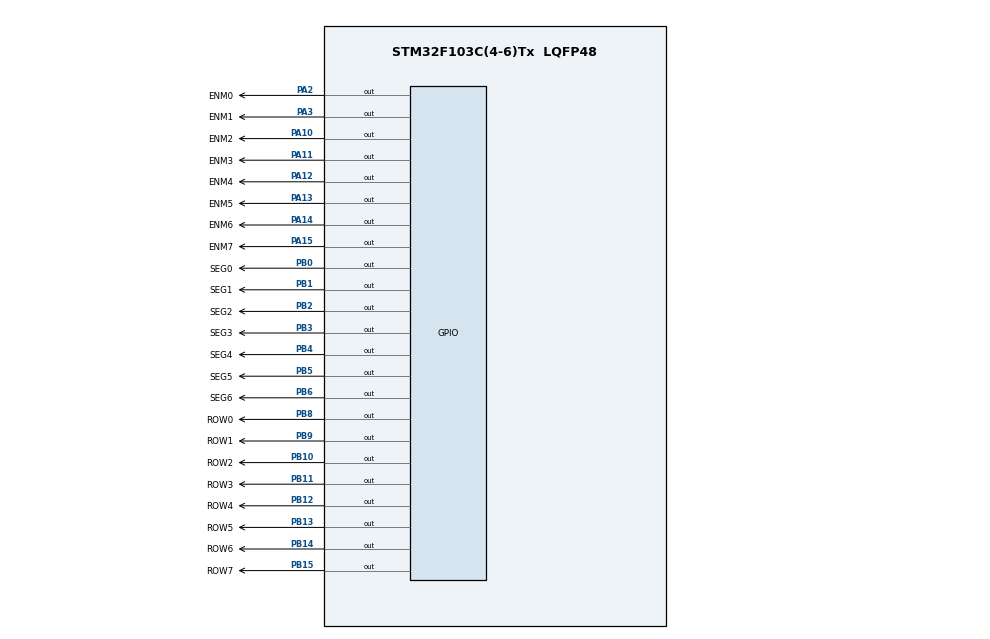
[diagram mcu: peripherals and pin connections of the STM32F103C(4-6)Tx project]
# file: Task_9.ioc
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Mcu.Family=STM32F1
Mcu.Name=STM32F103C(4-6)Tx
Mcu.Package=LQFP48
NVIC.PriorityGroup=NVIC_PRIORITYGROUP_4
NVIC.TIM2_IRQn=true\:0\:0\:false\:false\:true\:true\:true
PA10.GPIO_Label=ENM2
PA10.Signal=GPIO_Output
PA11.GPIO_Label=ENM3
PA11.Signal=GPIO_Output
PA12.GPIO_Label=ENM4
PA12.Signal=GPIO_Output
PA13.GPIO_Label=ENM5
PA13.Signal=GPIO_Output
PA14.GPIO_Label=ENM6
PA14.Signal=GPIO_Output
PA15.GPIO_Label=ENM7
PA15.Signal=GPIO_Output
PA2.GPIO_Label=ENM0
PA2.Signal=GPIO_Output
PA3.GPIO_Label=ENM1
PA3.Signal=GPIO_Output
PB0.GPIO_Label=SEG0
PB0.Signal=GPIO_Output
PB1.GPIO_Label=SEG1
PB1.Signal=GPIO_Output
PB10.GPIO_Label=ROW2
PB10.Signal=GPIO_Output
PB11.GPIO_Label=ROW3
PB11.Signal=GPIO_Output
PB12.GPIO_Label=ROW4
PB12.Signal=GPIO_Output
PB13.GPIO_Label=ROW5
PB13.Signal=GPIO_Output
PB14.GPIO_Label=ROW6
PB14.Signal=GPIO_Output
PB15.GPIO_Label=ROW7
PB15.Signal=GPIO_Output
PB2.GPIO_Label=SEG2
PB2.Signal=GPIO_Output
PB3.GPIO_Label=SEG3
PB3.Signal=GPIO_Output
PB4.GPIO_Label=SEG4
PB4.Signal=GPIO_Output
PB5.GPIO_Label=SEG5
PB5.Signal=GPIO_Output
PB6.GPIO_Label=SEG6
PB6.Signal=GPIO_Output
PB8.GPIO_Label=ROW0
PB8.Signal=GPIO_Output
PB9.GPIO_Label=ROW1
PB9.Signal=GPIO_Output
ProjectManager.HeapSize=0x200
ProjectManager.StackSize=0x400
ProjectManager.TargetToolchain=STM32CubeIDE
RCC.APB1Freq_Value=8000000
RCC.APB2Freq_Value=8000000
TIM2.Period=9
TIM2.Prescaler=7999
VP_SYS_VS_ND.Mode=No_Debug
VP_TIM2_VS_ClockSourceINT.Mode=Internal
board=custom

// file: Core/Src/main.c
/* USER CODE BEGIN Header */
/**
  ******************************************************************************
  * @file           : main.c
  * @brief          : Main program body
  ******************************************************************************
  * @attention
  *
  * <h2><center>&copy; Copyright (c) 2022 STMicroelectronics.
  * All rights reserved.</center></h2>
  *
  * This software component is licensed by ST under BSD 3-Clause license,
  * the "License"; You may not use this file except in compliance with the
  * License. You may obtain a copy of the License at:
  *                        opensource.org/licenses/BSD-3-Clause
  *
  ******************************************************************************
  */
/* USER CODE END Header */
#include "main.h"

/* USER CODE BEGIN Includes */
#include "software_timer.h"
/* USER CODE END Includes */

TIM_HandleTypeDef htim2;

void SystemClock_Config(void);
static void MX_GPIO_Init(void);
static void MX_TIM2_Init(void);
/* USER CODE BEGIN PFP */
void displayROW_LEDMATRIX(int num_index);
void updateLEDMatrix(int index_led_matrix);
void clearENM();
void shiftLeft();
/* USER CODE END PFP */

/* USER CODE BEGIN 0 */
int index_led_matrix=0;
const int MAX_LED_MATRIX=8;
uint8_t matrix_buffer[8]= {0xFF, 0x03, 0x01, 0xCC, 0xCC, 0x01, 0x03, 0xFF}; // data of rows
//uint8_t matrix_buffer[8]={0x7C,0x10,0x10,0x10,0x10,0x10,0x10};
/* USER CODE END 0 */

int main(void)
{

  /* MCU Configuration--------------------------------------------------------*/

  /* Reset of all peripherals, Initializes the Flash interface and the Systick. */
  HAL_Init();

  /* Configure the system clock */
  SystemClock_Config();

  /* Initialize all configured peripherals */
  MX_GPIO_Init();
  MX_TIM2_Init();
  /* USER CODE BEGIN 2 */
  HAL_TIM_Base_Start_IT (& htim2 );
  /* USER CODE END 2 */

  /* Infinite loop */
  /* USER CODE BEGIN WHILE */
  setTimer1(2);
 // int led_status =1;
  while (1)
  {
    /* USER CODE END WHILE */
           if(timer1_flag==1)
           {
        	   setTimer1(2);
        	   if(index_led_matrix >= MAX_LED_MATRIX)
        	   {
        		   index_led_matrix=0;
        	       shiftLeft();
        	   }
        	   updateLEDMatrix(index_led_matrix);
        	   index_led_matrix++;

           }

	/*	  setTimer1(50);
		  HAL_GPIO_WritePin(ENM0_GPIO_Port, ENM0_Pin, 0);
		  HAL_GPIO_WritePin(ENM1_GPIO_Port, ENM1_Pin, 1);
		  HAL_GPIO_WritePin(ENM2_GPIO_Port, ENM2_Pin, 1);
		  HAL_GPIO_WritePin(ENM3_GPIO_Port, ENM3_Pin, 1);
		  HAL_GPIO_WritePin(ENM4_GPIO_Port, ENM4_Pin, 1);
		  HAL_GPIO_WritePin(ENM5_GPIO_Port, ENM5_Pin, 1);
		  HAL_GPIO_WritePin(ENM6_GPIO_Port, ENM6_Pin, 1);
		  HAL_GPIO_WritePin(ENM7_GPIO_Port, ENM7_Pin, 1);

		  HAL_GPIO_WritePin(ROW0_GPIO_Port, ROW0_Pin, 0);
		  HAL_GPIO_WritePin(ROW1_GPIO_Port, ROW1_Pin, 0);
		  HAL_GPIO_WritePin(ROW2_GPIO_Port, ROW2_Pin, 1);
		  HAL_GPIO_WritePin(ROW3_GPIO_Port, ROW3_Pin, 1);
		  HAL_GPIO_WritePin(ROW4_GPIO_Port, ROW4_Pin, 1);
		  HAL_GPIO_WritePin(ROW5_GPIO_Port, ROW5_Pin, 1);
		  HAL_GPIO_WritePin(ROW6_GPIO_Port, ROW6_Pin, 1);
		  HAL_GPIO_WritePin(ROW7_GPIO_Port, ROW7_Pin, 1);  */

  }
}

void SystemClock_Config(void)
{
  RCC_OscInitTypeDef RCC_OscInitStruct = {0};
  RCC_ClkInitTypeDef RCC_ClkInitStruct = {0};

  /** Initializes the RCC Oscillators according to the specified parameters
  * in the RCC_OscInitTypeDef structure.
  */
  RCC_OscInitStruct.OscillatorType = RCC_OSCILLATORTYPE_HSI;
  RCC_OscInitStruct.HSIState = RCC_HSI_ON;
  RCC_OscInitStruct.HSICalibrationValue = RCC_HSICALIBRATION_DEFAULT;
  RCC_OscInitStruct.PLL.PLLState = RCC_PLL_NONE;
  if (HAL_RCC_OscConfig(&RCC_OscInitStruct) != HAL_OK)
  {
    Error_Handler();
  }
  /** Initializes the CPU, AHB and APB buses clocks
  */
  RCC_ClkInitStruct.ClockType = RCC_CLOCKTYPE_HCLK|RCC_CLOCKTYPE_SYSCLK
                              |RCC_CLOCKTYPE_PCLK1|RCC_CLOCKTYPE_PCLK2;
  RCC_ClkInitStruct.SYSCLKSource = RCC_SYSCLKSOURCE_HSI;
  RCC_ClkInitStruct.AHBCLKDivider = RCC_SYSCLK_DIV1;
  RCC_ClkInitStruct.APB1CLKDivider = RCC_HCLK_DIV1;
  RCC_ClkInitStruct.APB2CLKDivider = RCC_HCLK_DIV1;

  if (HAL_RCC_ClockConfig(&RCC_ClkInitStruct, FLASH_LATENCY_0) != HAL_OK)
  {
    Error_Handler();
  }
}

static void MX_TIM2_Init(void)
{

  TIM_ClockConfigTypeDef sClockSourceConfig = {0};
  TIM_MasterConfigTypeDef sMasterConfig = {0};

  htim2.Instance = TIM2;
  htim2.Init.Prescaler = 7999;
  htim2.Init.CounterMode = TIM_COUNTERMODE_UP;
  htim2.Init.Period = 9;
  htim2.Init.ClockDivision = TIM_CLOCKDIVISION_DIV1;
  htim2.Init.AutoReloadPreload = TIM_AUTORELOAD_PRELOAD_DISABLE;
  if (HAL_TIM_Base_Init(&htim2) != HAL_OK)
  {
    Error_Handler();
  }
  sClockSourceConfig.ClockSource = TIM_CLOCKSOURCE_INTERNAL;
  if (HAL_TIM_ConfigClockSource(&htim2, &sClockSourceConfig) != HAL_OK)
  {
    Error_Handler();
  }
  sMasterConfig.MasterOutputTrigger = TIM_TRGO_RESET;
  sMasterConfig.MasterSlaveMode = TIM_MASTERSLAVEMODE_DISABLE;
  if (HAL_TIMEx_MasterConfigSynchronization(&htim2, &sMasterConfig) != HAL_OK)
  {
    Error_Handler();
  }

}

static void MX_GPIO_Init(void)
{
  GPIO_InitTypeDef GPIO_InitStruct = {0};

  /* GPIO Ports Clock Enable */
  __HAL_RCC_GPIOA_CLK_ENABLE();
  __HAL_RCC_GPIOB_CLK_ENABLE();

  /*Configure GPIO pin Output Level */
  HAL_GPIO_WritePin(GPIOA, ENM0_Pin|ENM1_Pin|ENM2_Pin|ENM3_Pin
                          |ENM4_Pin|ENM5_Pin|ENM6_Pin|ENM7_Pin, GPIO_PIN_RESET);

  /*Configure GPIO pin Output Level */
  HAL_GPIO_WritePin(GPIOB, SEG0_Pin|SEG1_Pin|SEG2_Pin|ROW2_Pin
                          |ROW3_Pin|ROW4_Pin|ROW5_Pin|ROW6_Pin
                          |ROW7_Pin|SEG3_Pin|SEG4_Pin|SEG5_Pin
                          |SEG6_Pin|ROW0_Pin|ROW1_Pin, GPIO_PIN_RESET);

  /*Configure GPIO pins : ENM0_Pin ENM1_Pin ENM2_Pin ENM3_Pin
                           ENM4_Pin ENM5_Pin ENM6_Pin ENM7_Pin */
  GPIO_InitStruct.Pin = ENM0_Pin|ENM1_Pin|ENM2_Pin|ENM3_Pin
                          |ENM4_Pin|ENM5_Pin|ENM6_Pin|ENM7_Pin;
  GPIO_InitStruct.Mode = GPIO_MODE_OUTPUT_PP;
  GPIO_InitStruct.Pull = GPIO_NOPULL;
  GPIO_InitStruct.Speed = GPIO_SPEED_FREQ_LOW;
  HAL_GPIO_Init(GPIOA, &GPIO_InitStruct);

  /*Configure GPIO pins : SEG0_Pin SEG1_Pin SEG2_Pin ROW2_Pin
                           ROW3_Pin ROW4_Pin ROW5_Pin ROW6_Pin
                           ROW7_Pin SEG3_Pin SEG4_Pin SEG5_Pin
                           SEG6_Pin ROW0_Pin ROW1_Pin */
  GPIO_InitStruct.Pin = SEG0_Pin|SEG1_Pin|SEG2_Pin|ROW2_Pin
                          |ROW3_Pin|ROW4_Pin|ROW5_Pin|ROW6_Pin
                          |ROW7_Pin|SEG3_Pin|SEG4_Pin|SEG5_Pin
                          |SEG6_Pin|ROW0_Pin|ROW1_Pin;
  GPIO_InitStruct.Mode = GPIO_MODE_OUTPUT_PP;
  GPIO_InitStruct.Pull = GPIO_NOPULL;
  GPIO_InitStruct.Speed = GPIO_SPEED_FREQ_LOW;
  HAL_GPIO_Init(GPIOB, &GPIO_InitStruct);

}

/* USER CODE BEGIN 4 */
void HAL_TIM_PeriodElapsedCallback ( TIM_HandleTypeDef * htim )
{
	timerRun();
}
void updateLEDMatrix (int index )
{
	switch(index)
	{
	    case 0:
	    	HAL_GPIO_WritePin(ENM0_GPIO_Port, ENM0_Pin, 0);
	    	HAL_GPIO_WritePin(ENM1_GPIO_Port, ENM1_Pin, 1);
	    	HAL_GPIO_WritePin(ENM2_GPIO_Port, ENM2_Pin, 1);
	    	HAL_GPIO_WritePin(ENM3_GPIO_Port, ENM3_Pin, 1);
	    	HAL_GPIO_WritePin(ENM4_GPIO_Port, ENM4_Pin, 1);
	    	HAL_GPIO_WritePin(ENM5_GPIO_Port, ENM5_Pin, 1);
	    	HAL_GPIO_WritePin(ENM6_GPIO_Port, ENM6_Pin, 1);
	    	HAL_GPIO_WritePin(ENM7_GPIO_Port, ENM7_Pin, 1);
            displayROW_LEDMATRIX(matrix_buffer[index]);
	    break;
	    case 1:
	    	HAL_GPIO_WritePin(ENM0_GPIO_Port, ENM0_Pin, 1);
	    	HAL_GPIO_WritePin(ENM1_GPIO_Port, ENM1_Pin, 0);
	    	HAL_GPIO_WritePin(ENM2_GPIO_Port, ENM2_Pin, 1);
	    	HAL_GPIO_WritePin(ENM3_GPIO_Port, ENM3_Pin, 1);
	    	HAL_GPIO_WritePin(ENM4_GPIO_Port, ENM4_Pin, 1);
	    	HAL_GPIO_WritePin(ENM5_GPIO_Port, ENM5_Pin, 1);
	    	HAL_GPIO_WritePin(ENM6_GPIO_Port, ENM6_Pin, 1);
	    	HAL_GPIO_WritePin(ENM7_GPIO_Port, ENM7_Pin, 1);
            displayROW_LEDMATRIX(matrix_buffer[index]);
	    break;
	    case 2:
	    	HAL_GPIO_WritePin(ENM0_GPIO_Port, ENM0_Pin, 1);
	    	HAL_GPIO_WritePin(ENM1_GPIO_Port, ENM1_Pin, 1);
	    	HAL_GPIO_WritePin(ENM2_GPIO_Port, ENM2_Pin, 0);
	    	HAL_GPIO_WritePin(ENM3_GPIO_Port, ENM3_Pin, 1);
	    	HAL_GPIO_WritePin(ENM4_GPIO_Port, ENM4_Pin, 1);
	    	HAL_GPIO_WritePin(ENM5_GPIO_Port, ENM5_Pin, 1);
	    	HAL_GPIO_WritePin(ENM6_GPIO_Port, ENM6_Pin, 1);
	    	HAL_GPIO_WritePin(ENM7_GPIO_Port, ENM7_Pin, 1);
            displayROW_LEDMATRIX(matrix_buffer[index]);
	    break;
	    case 3:
	    	HAL_GPIO_WritePin(ENM0_GPIO_Port, ENM0_Pin, 1);
	    	HAL_GPIO_WritePin(ENM1_GPIO_Port, ENM1_Pin, 1);
	    	HAL_GPIO_WritePin(ENM2_GPIO_Port, ENM2_Pin, 1);
	    	HAL_GPIO_WritePin(ENM3_GPIO_Port, ENM3_Pin, 0);
	    	HAL_GPIO_WritePin(ENM4_GPIO_Port, ENM4_Pin, 1);
	    	HAL_GPIO_WritePin(ENM5_GPIO_Port, ENM5_Pin, 1);
	    	HAL_GPIO_WritePin(ENM6_GPIO_Port, ENM6_Pin, 1);
	    	HAL_GPIO_WritePin(ENM7_GPIO_Port, ENM7_Pin, 1);
            displayROW_LEDMATRIX(matrix_buffer[index]);
	    break;
	    case 4:
	    	HAL_GPIO_WritePin(ENM0_GPIO_Port, ENM0_Pin, 1);
	    	HAL_GPIO_WritePin(ENM1_GPIO_Port, ENM1_Pin, 1);
	    	HAL_GPIO_WritePin(ENM2_GPIO_Port, ENM2_Pin, 1);
	    	HAL_GPIO_WritePin(ENM3_GPIO_Port, ENM3_Pin, 1);
	    	HAL_GPIO_WritePin(ENM4_GPIO_Port, ENM4_Pin, 0);
	    	HAL_GPIO_WritePin(ENM5_GPIO_Port, ENM5_Pin, 1);
	    	HAL_GPIO_WritePin(ENM6_GPIO_Port, ENM6_Pin, 1);
	    	HAL_GPIO_WritePin(ENM7_GPIO_Port, ENM7_Pin, 1);
            displayROW_LEDMATRIX(matrix_buffer[index]);
	    break;
	    case 5:
	    	HAL_GPIO_WritePin(ENM0_GPIO_Port, ENM0_Pin, 1);
	    	HAL_GPIO_WritePin(ENM1_GPIO_Port, ENM1_Pin, 1);
	    	HAL_GPIO_WritePin(ENM2_GPIO_Port, ENM2_Pin, 1);
	    	HAL_GPIO_WritePin(ENM3_GPIO_Port, ENM3_Pin, 1);
	    	HAL_GPIO_WritePin(ENM4_GPIO_Port, ENM4_Pin, 1);
	    	HAL_GPIO_WritePin(ENM5_GPIO_Port, ENM5_Pin, 0);
	    	HAL_GPIO_WritePin(ENM6_GPIO_Port, ENM6_Pin, 1);
	    	HAL_GPIO_WritePin(ENM7_GPIO_Port, ENM7_Pin, 1);
            displayROW_LEDMATRIX(matrix_buffer[index]);
	    break;
	    case 6:
	    	HAL_GPIO_WritePin(ENM0_GPIO_Port, ENM0_Pin, 1);
	    	HAL_GPIO_WritePin(ENM1_GPIO_Port, ENM1_Pin, 1);
	    	HAL_GPIO_WritePin(ENM2_GPIO_Port, ENM2_Pin, 1);
	    	HAL_GPIO_WritePin(ENM3_GPIO_Port, ENM3_Pin, 1);
	    	HAL_GPIO_WritePin(ENM4_GPIO_Port, ENM4_Pin, 1);
	    	HAL_GPIO_WritePin(ENM5_GPIO_Port, ENM5_Pin, 1);
	    	HAL_GPIO_WritePin(ENM6_GPIO_Port, ENM6_Pin, 0);
	    	HAL_GPIO_WritePin(ENM7_GPIO_Port, ENM7_Pin, 1);
            displayROW_LEDMATRIX(matrix_buffer[index]);
	    break;
	    case 7:
	    	HAL_GPIO_WritePin(ENM0_GPIO_Port, ENM0_Pin, 1);
	    	HAL_GPIO_WritePin(ENM1_GPIO_Port, ENM1_Pin, 1);
	    	HAL_GPIO_WritePin(ENM2_GPIO_Port, ENM2_Pin, 1);
	    	HAL_GPIO_WritePin(ENM3_GPIO_Port, ENM3_Pin, 1);
	    	HAL_GPIO_WritePin(ENM4_GPIO_Port, ENM4_Pin, 1);
	    	HAL_GPIO_WritePin(ENM5_GPIO_Port, ENM5_Pin, 1);
	    	HAL_GPIO_WritePin(ENM6_GPIO_Port, ENM6_Pin, 1);
	    	HAL_GPIO_WritePin(ENM7_GPIO_Port, ENM7_Pin, 0);
            displayROW_LEDMATRIX(matrix_buffer[index]);
	    break;
	    default:
	    break;
	}
}
void displayROW_LEDMATRIX(int num_index)
{
	HAL_GPIO_WritePin(ROW0_GPIO_Port, ROW0_Pin, (num_index >> 0 & 0x01));
	HAL_GPIO_WritePin(ROW1_GPIO_Port, ROW1_Pin, (num_index >> 1 & 0x01));
	HAL_GPIO_WritePin(ROW2_GPIO_Port, ROW2_Pin, (num_index >> 2 & 0x01));
	HAL_GPIO_WritePin(ROW3_GPIO_Port, ROW3_Pin, (num_index >> 3 & 0x01));
    HAL_GPIO_WritePin(ROW4_GPIO_Port, ROW4_Pin, (num_index >> 4 & 0x01));
    HAL_GPIO_WritePin(ROW5_GPIO_Port, ROW5_Pin, (num_index >> 5 & 0x01));
    HAL_GPIO_WritePin(ROW6_GPIO_Port, ROW6_Pin, (num_index >> 6 & 0x01));
    HAL_GPIO_WritePin(ROW7_GPIO_Port, ROW7_Pin, (num_index >> 7 & 0x01));
}
void clearALLLED(){
	HAL_GPIO_WritePin(ENM0_GPIO_Port, ENM0_Pin, 1);
	HAL_GPIO_WritePin(ENM1_GPIO_Port, ENM1_Pin, 1);
	HAL_GPIO_WritePin(ENM2_GPIO_Port, ENM2_Pin, 1);
	HAL_GPIO_WritePin(ENM3_GPIO_Port, ENM3_Pin, 1);
	HAL_GPIO_WritePin(ENM4_GPIO_Port, ENM4_Pin, 1);
	HAL_GPIO_WritePin(ENM5_GPIO_Port, ENM5_Pin, 1);
	HAL_GPIO_WritePin(ENM6_GPIO_Port, ENM6_Pin, 1);
}
void shiftLeft(){
	int first_matrix_buffer_value = matrix_buffer[0];
	for(int i = 0; i<MAX_LED_MATRIX-1; ++i)
  {
		matrix_buffer[i] = matrix_buffer[i+1];
	}
	matrix_buffer[7] = first_matrix_buffer_value;

}
/* USER CODE END 4 */

void Error_Handler(void)
{
  __disable_irq();
  while (1)
  {
  }
}

/************************ (C) COPYRIGHT STMicroelectronics *****END OF FILE****/
